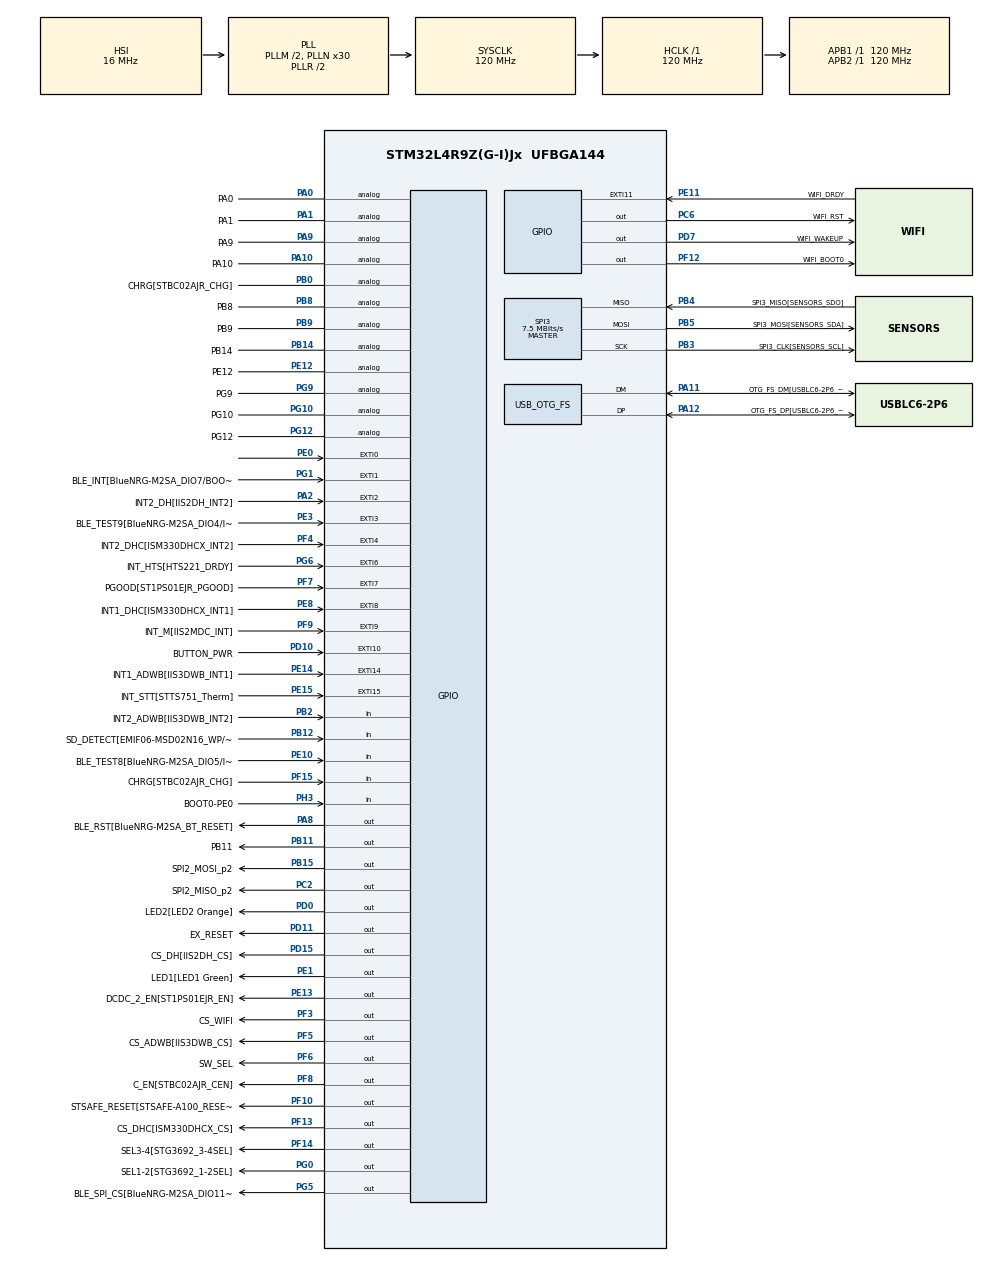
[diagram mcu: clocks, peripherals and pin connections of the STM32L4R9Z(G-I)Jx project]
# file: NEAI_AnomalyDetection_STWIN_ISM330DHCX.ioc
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Mcu.Family=STM32L4
Mcu.Name=STM32L4R9Z(G-I)Jx
Mcu.Package=UFBGA144
NVIC.EXTI0_IRQn=true\:0\:0\:true\:false\:true\:true\:true
NVIC.EXTI9_5_IRQn=true\:0\:0\:true\:false\:true\:true\:true
NVIC.OTG_FS_IRQn=true\:0\:0\:true\:false\:true\:false\:true
NVIC.PriorityGroup=NVIC_PRIORITYGROUP_4
PA0.GPIO_Label=PA0
PA0.Signal=GPIO_Analog
PA1.GPIO_Label=PA1
PA1.Signal=GPIO_Analog
PA10.GPIO_Label=PA10
PA10.Signal=GPIO_Analog
PA11.GPIO_Label=OTG_FS_DM[USBLC6-2P6_D2]
PA11.Mode=Device_Only
PA11.Signal=USB_OTG_FS_DM
PA12.GPIO_Label=OTG_FS_DP[USBLC6-2P6_D1]
PA12.Mode=Device_Only
PA12.Signal=USB_OTG_FS_DP
PA13\ (JTMS/SWDIO).GPIO_Label=SWDIO
PA13\ (JTMS/SWDIO).Signal=SYS_JTMS-SWDIO
PA14\ (JTCK/SWCLK).GPIO_Label=SWDCLK
PA14\ (JTCK/SWCLK).Signal=SYS_JTCK-SWCLK
PA15\ (JTDI).GPIO_Label=EX_PWM
PA15\ (JTDI).Signal=S_TIM2_CH1
PA2.GPIO_Label=INT2_DH[IIS2DH_INT2]
PA2.Signal=GPXTI2
PA4.GPIO_Label=DAC1_OUT1
PA4.Signal=COMP_DAC11_group
PA5.GPIO_Label=EX_ADC
PA5.Signal=ADCx_IN10
PA8.GPIO_Label=BLE_RST[BlueNRG-M2SA_BT_RESET]
PA8.Signal=GPIO_Output
PA9.GPIO_Label=PA9
PA9.Signal=GPIO_Analog
PB0.GPIO_Label=CHRG[STBC02AJR_CHG]
PB0.Signal=GPIO_Analog
PB1.GPIO_Label=USART3_RTS[STG3692_3S2]
PB1.Signal=USART3_RTS
PB10.GPIO_Label=DFSDM1_D7
PB10.GPIO_PuPd=GPIO_PULLDOWN
PB10.GPIO_Speed=GPIO_SPEED_FREQ_VERY_HIGH
PB10.Signal=S_DATAIN7DFSDM1
PB11.GPIO_Label=PB11
PB11.Signal=GPIO_Output
PB12.GPIO_Label=SD_DETECT[EMIF06-MSD02N16_WP/CD]
PB12.Signal=GPIO_Input
PB13.GPIO_Label=USART3_CTS
PB13.Signal=USART3_CTS
PB14.GPIO_Label=PB14
PB14.Signal=GPIO_Analog
PB15.GPIO_Label=SPI2_MOSI_p2
PB15.Signal=GPIO_Output
PB2.GPIO_Label=INT2_ADWB[IIS3DWB_INT2]
PB2.Signal=GPIO_Input
PB3\ (JTDO/TRACESWO).GPIO_Label=SPI3_CLK[SENSORS_SCL]
PB3\ (JTDO/TRACESWO).Mode=Full_Duplex_Master
PB3\ (JTDO/TRACESWO).Signal=SPI3_SCK
PB4\ (NJTRST).GPIO_Label=SPI3_MISO[SENSORS_SDO]
PB4\ (NJTRST).Mode=Full_Duplex_Master
PB4\ (NJTRST).Signal=SPI3_MISO
PB5.GPIO_Label=SPI3_MOSI[SENSORS_SDA]
PB5.Mode=Full_Duplex_Master
PB5.Signal=SPI3_MOSI
PB6.GPIO_Label=DFSDM1_DATIN5[IMP34DT05_DOUT]
PB6.GPIO_PuPd=GPIO_PULLDOWN
PB6.GPIO_Speed=GPIO_SPEED_FREQ_VERY_HIGH
PB6.Signal=S_DATAIN5DFSDM1
PB8.GPIO_Label=PB8
PB8.Signal=GPIO_Analog
PB9.GPIO_Label=PB9
PB9.Signal=GPIO_Analog
PC0.GPIO_Label=ADC1_IN1[TS922EIJT_OUT2]
PC0.Signal=ADCx_IN1
PC1.GPIO_Label=ADC1_IN2[TS922EIJT_OUT1]
PC1.Signal=ADCx_IN2
PC10.GPIO_Label=SDMMC_D2[EMIF06-MSD02N16_DAT2_In]
PC10.Signal=SDMMC1_D2
PC11.GPIO_Label=SDMMC_D3[EMIF06-MSD02N16_DAT3_In]
PC11.Signal=SDMMC1_D3
PC12.GPIO_Label=SDMMC_CK[EMIF06-MSD02N16_CLK_In]
PC12.Signal=SDMMC1_CK
PC13.GPIO_Label=RTC_TAMP1
PC13.Signal=RTC_TAMP1
PC14-OSC32_IN\ (PC14).GPIO_Label=OSC32_IN
PC14-OSC32_IN\ (PC14).Signal=RCC_OSC32_IN
PC15-OSC32_OUT\ (PC15).GPIO_Label=OSC32_OUT
PC15-OSC32_OUT\ (PC15).Signal=RCC_OSC32_OUT
PC2.GPIO_Label=SPI2_MISO_p2
PC2.Signal=GPIO_Output
PC3.GPIO_Label=SPI2_MOSI[BlueNRG-M2SA_DIO3/SPI_MOSI]
PC3.Signal=SPI2_MOSI
PC4.GPIO_Label=uC_ADC_BATT[STBC02AJR_BATMS]
PC4.Signal=ADCx_IN13
PC5.GPIO_Label=PC5/WKUP5
PC5.Signal=SYS_WKUP5
PC6.GPIO_Label=WIFI_RST
PC6.Signal=GPIO_Output
PC8.GPIO_Label=SDMMC_D0[EMIF06-MSD02N16_DAT0_In]
PC8.Signal=SDMMC1_D0
PC9.GPIO_Label=SDMMC_D1[EMIF06-MSD02N16_DAT1_In]
PC9.Signal=SDMMC1_D1
PD0.GPIO_Label=LED2[LED2 Orange]
PD0.Signal=GPIO_Output
PD1.GPIO_Label=SPI2_CLK[BlueNRG-M2SA_DIO0/SPI_CLK]
PD1.Signal=SPI2_SCK
PD10.GPIO_Label=BUTTON_PWR
PD10.Signal=GPXTI10
PD11.GPIO_Label=EX_RESET 
PD11.Signal=GPIO_Output
PD12.GPIO_Label=I2C4_SCL
PD12.Signal=I2C4_SCL
PD13.GPIO_Label=I2C4_SDA
PD13.Signal=I2C4_SDA
PD15.GPIO_Label=CS_DH[IIS2DH_CS]
PD15.Signal=GPIO_Output
PD2.GPIO_Label=SDMMC_CMD[EMIF06-MSD02N16_CMD_In]
PD2.Signal=SDMMC1_CMD
PD3.GPIO_Label=SPI2_MISO[BlueNRG-M2SA_DIO2/SPI_MISO]
PD3.Signal=SPI2_MISO
PD4.GPIO_Label=USART2_RTS[STR485LV_DE]
PD4.Signal=USART2_RTS
PD5.GPIO_Label=USART2_TX[STR485LV_D]
PD5.Signal=USART2_TX
PD6.GPIO_Label=USART2_RX[STR485LV_R]
PD6.Signal=USART2_RX
PD7.GPIO_Label=WIFI_WAKEUP
PD7.Signal=GPIO_Output
PD8.GPIO_Label=USART3_TX[STG3692_1S1]
PD8.Signal=USART3_TX
PD9.GPIO_Label=USART3_RX[STG3692_2S1]
PD9.Signal=USART3_RX
PE0.Signal=GPXTI0
PE1.GPIO_Label=LED1[LED1 Green]
PE1.Signal=GPIO_Output
PE10.GPIO_Label=BLE_TEST8[BlueNRG-M2SA_DIO5/I2C_SDA]
PE10.Signal=GPIO_Input
PE11.GPIO_Label=WIFI_DRDY
PE11.Signal=GPXTI11
PE12.GPIO_Label=PE12
PE12.Signal=GPIO_Analog
PE13.GPIO_Label=DCDC_2_EN[ST1PS01EJR_EN]
PE13.Signal=GPIO_Output
PE14.GPIO_Label=INT1_ADWB[IIS3DWB_INT1]
PE14.Signal=GPXTI14
PE15.GPIO_Label=INT_STT[STTS751_Therm]
PE15.Signal=GPXTI15
PE2.GPIO_Label=SAI1_MCLK_A
PE2.Signal=SAI1_MCLK_A
PE3.GPIO_Label=BLE_TEST9[BlueNRG-M2SA_DIO4/I2C_CLK]
PE3.Signal=GPXTI3
PE4.GPIO_Label=SAI1_FS_A/DFSDM_D3
PE4.Signal=SAI1_FS_A
PE5.GPIO_Label=SAI1_SCK_A
PE5.Signal=SAI1_SCK_A
PE6.GPIO_Label=SAI1_SD_A
PE6.Signal=SAI1_SD_A
PE7.GPIO_Label=SAI1_SD_B
PE7.Signal=SAI1_SD_B
PE8.GPIO_Label=INT1_DHC[ISM330DHCX_INT1]
PE8.Signal=GPXTI8
PE9.GPIO_Label=DFSDM1_CKOUT[IMP34DT05_CLK]
PE9.GPIO_PuPd=GPIO_PULLDOWN
PE9.GPIO_Speed=GPIO_SPEED_FREQ_VERY_HIGH
PE9.Signal=S_CKOUTDFSDM1
PF0.GPIO_Label=I2C2_SDA[SENSORS_SDA]
PF0.Signal=I2C2_SDA
PF1.GPIO_Label=I2C2_SDA[SENSORS_SCL]
PF1.Signal=I2C2_SCL
PF10.GPIO_Label=STSAFE_RESET[STSAFE-A100_RESET]
PF10.Signal=GPIO_Output
PF12.GPIO_Label=WIFI_BOOT0
PF12.Signal=GPIO_Output
PF13.GPIO_Label=CS_DHC[ISM330DHCX_CS]
PF13.Signal=GPIO_Output
PF14.GPIO_Label=SEL3-4[STG3692_3-4SEL]
PF14.Signal=GPIO_Output
PF15.GPIO_Label=CHRG[STBC02AJR_CHG]
PF15.Signal=GPIO_Input
PF2.GPIO_Label=I2C2_SMBA[STTS751_EV]
PF2.Signal=I2C2_SMBA
PF3.GPIO_Label=CS_WIFI
PF3.Signal=GPIO_Output
PF4.GPIO_Label=INT2_DHC[ISM330DHCX_INT2]
PF4.Signal=GPXTI4
PF5.GPIO_Label=CS_ADWB[IIS3DWB_CS]
PF5.Signal=GPIO_Output
PF6.GPIO_Label=SW_SEL
PF6.Signal=GPIO_Output
PF7.GPIO_Label=PGOOD[ST1PS01EJR_PGOOD]
PF7.Signal=GPXTI7
PF8.GPIO_Label=C_EN[STBC02AJR_CEN]
PF8.Signal=GPIO_Output
PF9.GPIO_Label=INT_M[IIS2MDC_INT]
PF9.Signal=GPXTI9
PG0.GPIO_Label=SEL1-2[STG3692_1-2SEL]
PG0.Signal=GPIO_Output
PG1.GPIO_Label=BLE_INT[BlueNRG-M2SA_DIO7/BOOT/UART_CTS]
PG1.Signal=GPXTI1
PG10.GPIO_Label=PG10
PG10.Signal=GPIO_Analog
PG12.GPIO_Label=PG12
PG12.Signal=GPIO_Analog
PG2.GPIO_Label=SPI1_CLK
PG2.Signal=SPI1_SCK
PG3.GPIO_Label=SPI1_MISO
PG3.Signal=SPI1_MISO
PG4.GPIO_Label=SPI1_MOSI
PG4.Signal=SPI1_MOSI
PG5.GPIO_Label=BLE_SPI_CS[BlueNRG-M2SA_DIO11/UART_RXD]
PG5.Signal=GPIO_Output
PG6.GPIO_Label=INT_HTS[HTS221_DRDY]
PG6.Signal=GPXTI6
PG7.GPIO_Label=I2C3_SCL[STSAFE-A110_SCL]
PG7.Signal=I2C3_SCL
PG8.GPIO_Label=I2C3_SDA[STSAFE-A110_SDA]
PG8.Signal=I2C3_SDA
PG9.GPIO_Label=PG9
PG9.Signal=GPIO_Analog
PH0-OSC_IN\ (PH0).GPIO_Label=OSC_IN
PH0-OSC_IN\ (PH0).Signal=RCC_OSC_IN
PH1-OSC_OUT\ (PH1).GPIO_Label=OSC_OUT
PH1-OSC_OUT\ (PH1).Signal=RCC_OSC_OUT
PH3-BOOT0.GPIO_Label=BOOT0-PE0
PH3-BOOT0.Signal=GPIO_Input
ProjectManager.HeapSize=0x200
ProjectManager.StackSize=0x400
ProjectManager.TargetToolchain=STM32CubeIDE
RCC.ADCFreq_Value=76800000
RCC.AHBFreq_Value=120000000
RCC.APB1Freq_Value=120000000
RCC.APB1TimFreq_Value=120000000
RCC.APB2Freq_Value=120000000
RCC.APB2TimFreq_Value=120000000
RCC.CK48CLockSelection=RCC_USBCLKSOURCE_HSI48
RCC.CortexFreq_Value=120000000
RCC.DSITX_Div=1
RCC.HCLKFreq_Value=120000000
RCC.HSE_VALUE=16000000
RCC.HSI48_VALUE=48000000
RCC.HSI_VALUE=16000000
RCC.LSE_VALUE=32768
RCC.MSIAutoCalibration=ENABLED
RCC.MSI_VALUE=4000000
RCC.PLLDSIODF=DSI_PLL_OUT_DIV2
RCC.PLLM1=2
RCC.PLLM2=5
RCC.PLLM3=2
RCC.PLLN=30
RCC.PLLSAI1N=96
RCC.PLLSAI1P=RCC_PLLP_DIV25
RCC.PLLSAI1Q=RCC_PLLQ_DIV4
RCC.PLLSAI1R=RCC_PLLR_DIV4
RCC.PLLSourceVirtual=RCC_PLLSOURCE_HSI
RCC.RTCClockSelection=RCC_RTCCLKSOURCE_LSE
RCC.SDMMCClockSelection=RCC_SDIOCLKSOURCE_CLK48
RCC.SYSCLKFreq_VALUE=120000000
RCC.SYSCLKSource=RCC_SYSCLKSOURCE_PLLCLK
RCC.USBFreq_Value=48000000
RCC.VCOOutputFreq_Value=240000000
SH.ADCx_IN1.0=ADC1_IN1
SH.ADCx_IN10.0=ADC1_IN10
SH.ADCx_IN13.0=ADC1_IN13
SH.ADCx_IN2.0=ADC1_IN2
SH.COMP_DAC11_group.0=DAC1_OUT1
SH.S_CKOUTDFSDM1.0=DFSDM1_CKOUT
SH.S_DATAIN5DFSDM1.0=DFSDM1_DATIN5
SH.S_DATAIN7DFSDM1.0=DFSDM1_DATIN7
SH.S_TIM2_CH1.0=TIM2_CH1
SPI3.BaudRatePrescaler=SPI_BAUDRATEPRESCALER_16
SPI3.CalculateBaudRate=7.5 MBits/s
SPI3.DataSize=SPI_DATASIZE_8BIT
SPI3.Direction=SPI_DIRECTION_2LINES
SPI3.Mode=SPI_MODE_MASTER
SPI3.VirtualType=VM_MASTER
USB_DEVICE.APP_TX_DATA_SIZE=2048
USB_DEVICE.CLASS_NAME_FS=CDC
USB_DEVICE.USBD_LPM_ENABLED=1
USB_DEVICE.VirtualMode=Cdc
USB_DEVICE.VirtualModeFS=Cdc_FS
USB_OTG_FS.Sof_enable-Device_Only=DISABLE
USB_OTG_FS.VirtualMode=Device_Only
VP_RCC_USB.Mode=CRS SYNC Source USB
VP_USB_DEVICE_VS_USB_DEVICE_CDC_FS.Mode=CDC_FS
board=STEVAL-STWINKT1B

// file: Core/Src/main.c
/* USER CODE BEGIN Header */
/**
  ******************************************************************************
  * @file           : main.c
  * @brief          : Main program body
  ******************************************************************************
  * @attention
  *
  * Copyright (c) 2021 STMicroelectronics.
  * All rights reserved.
  *
  * This software is licensed under terms that can be found in the LICENSE file
  * in the root directory of this software component.
  * If no LICENSE file comes with this software, it is provided AS-IS.
  *
  ******************************************************************************
  */
/* USER CODE END Header */
#include "main.h"
#include "spi.h"
#include "usb_device.h"
#include "gpio.h"

/* USER CODE BEGIN Includes */

#include "stdio.h"
#include "string.h"
#include "usbd_cdc_if.h"
#include "ism330dhcx_reg.h"
#include "NanoEdgeAI.h"

/* USER CODE END Includes */

/* USER CODE BEGIN PTD */

/* Step #2 Definition of enumerated type of FSM states*/
typedef enum
{
  LOG,
  LEARN,
  INFERENCE,
} States_t;

/* USER CODE END PTD */

/* USER CODE BEGIN PD */

#define VERSION                (uint32_t)(260822)

#define SENSOR_BUS            hspi3  /* Sensor SPI bus */
#define SENSOR_BOOT_TIME      (uint32_t)(100)  /* Boot time of the sensor [ms] */
#define NUMBER_OF_VALUES      (uint32_t)(DATA_INPUT_USER)
#define NUMBER_OF_AXIS        (uint32_t)(AXIS_NUMBER)
#define SIGNAL_SIZE           (uint32_t)(NUMBER_OF_VALUES * NUMBER_OF_AXIS)  /* Runtime signal size */
#define LEARNING_ITERATIONS   (uint32_t)(10)
#define LED_LOG_PERIOD        (uint32_t)(75)  /* LEDs toggling half period [ms] following the app state */
#define LED_LEARN_PERIOD      (uint32_t)(1000)
#define LED_INFERENCE_PERIOD  (uint32_t)(250)
#define LED_ANOMALY_PERIOD    (uint32_t)(20)

/* USER CODE END PD */

/* USER CODE BEGIN PV */

stmdev_ctx_t dev_ctx;
volatile States_t appState = LOG;  /* FSM state */
volatile uint32_t sensorDataReady = RESET;
volatile uint32_t led1PeriodCnt = 0;  /* LED1 toggling counter incremented by SysTick */
volatile uint32_t led1Period = 0;  /* LED1 toggle timing to be set by user */
volatile uint32_t led1Enable = SET;
volatile uint32_t led2PeriodCnt = 0;  /* LED1 toggling counter incremented by SysTick */
volatile uint32_t led2Period = 0;  /* LED1 toggle timing to be set by user */
volatile uint32_t led2Enable = RESET;
float input_user_buffer[SIGNAL_SIZE];

/* USER CODE END PV */

void SystemClock_Config(void);
/* USER CODE BEGIN PFP */

void CHARGER_Init(void);

int32_t platform_write(void *handle,uint8_t reg,const uint8_t *bufp,uint16_t len);
int32_t platform_read(void *handle,uint8_t reg,uint8_t *bufp,uint16_t len);

void MEMS_Init(void);
void FillBuffer(float *buffer, uint32_t size);
void PrintBuffer(float *buffer, uint32_t size);
void Log(void);
void Learn(void);
void Inference(void);

/* USER CODE END PFP */

/* USER CODE BEGIN 0 */

int _write(int fd, char * ptr, int len)
{
  CDC_Transmit_FS((uint8_t *)ptr,len);
  HAL_Delay((uint32_t)((len / 8) + 1));
  return len;
}

/* USER CODE END 0 */

int main(void)
{

  /* MCU Configuration--------------------------------------------------------*/

  /* Reset of all peripherals, Initializes the Flash interface and the Systick. */
  HAL_Init();

  /* Configure the system clock */
  SystemClock_Config();

  /* USER CODE BEGIN SysInit */

  HAL_PWREx_EnableVddUSB();

  /* USER CODE END SysInit */

  /* Initialize all configured peripherals */
  MX_GPIO_Init();
  MX_SPI3_Init();
  MX_USB_DEVICE_Init();
  /* USER CODE BEGIN 2 */

  HAL_Delay(500);  /* Delay to init VCP on host side */
  CHARGER_Init();
  MEMS_Init();
  printf("\r\nVer: %u.%u\r\n",(uint)VERSION,(uint)SIGNAL_SIZE);
  enum neai_state error_code = neai_anomalydetection_init();
  if (error_code!=NEAI_OK)
  {
    printf("Knowledge initialization ERROR: %d\r\n",error_code);
    Error_Handler();
  }
  else
  {
    printf("Knowledge initialization done\r\n");
  }

  /* USER CODE END 2 */

  /* Infinite loop */
  while (1)
  {

    /* USER CODE BEGIN 3 */

	switch (appState)
	{
	  case LOG:
	    Log();
	  	break;
	  case LEARN:
	    Learn();
	  	appState = INFERENCE;
	  	break;
	  case INFERENCE:
	    Inference();
	  	break;
	  default:
	    appState = LOG;
	  	break;
	}

  }
  /* USER CODE END 3 */
}

void SystemClock_Config(void)
{
  RCC_OscInitTypeDef RCC_OscInitStruct = {0};
  RCC_ClkInitTypeDef RCC_ClkInitStruct = {0};
  RCC_CRSInitTypeDef RCC_CRSInitStruct = {0};

  /** Configure the main internal regulator output voltage
  */
  if (HAL_PWREx_ControlVoltageScaling(PWR_REGULATOR_VOLTAGE_SCALE1_BOOST) != HAL_OK)
  {
    Error_Handler();
  }
  /** Initializes the RCC Oscillators according to the specified parameters
  * in the RCC_OscInitTypeDef structure.
  */
  RCC_OscInitStruct.OscillatorType = RCC_OSCILLATORTYPE_HSI48|RCC_OSCILLATORTYPE_HSI;
  RCC_OscInitStruct.HSIState = RCC_HSI_ON;
  RCC_OscInitStruct.HSI48State = RCC_HSI48_ON;
  RCC_OscInitStruct.HSICalibrationValue = RCC_HSICALIBRATION_DEFAULT;
  RCC_OscInitStruct.PLL.PLLState = RCC_PLL_ON;
  RCC_OscInitStruct.PLL.PLLSource = RCC_PLLSOURCE_HSI;
  RCC_OscInitStruct.PLL.PLLM = 2;
  RCC_OscInitStruct.PLL.PLLN = 30;
  RCC_OscInitStruct.PLL.PLLP = RCC_PLLP_DIV2;
  RCC_OscInitStruct.PLL.PLLQ = RCC_PLLQ_DIV2;
  RCC_OscInitStruct.PLL.PLLR = RCC_PLLR_DIV2;
  if (HAL_RCC_OscConfig(&RCC_OscInitStruct) != HAL_OK)
  {
    Error_Handler();
  }
  /** Initializes the CPU, AHB and APB buses clocks
  */
  RCC_ClkInitStruct.ClockType = RCC_CLOCKTYPE_HCLK|RCC_CLOCKTYPE_SYSCLK
                              |RCC_CLOCKTYPE_PCLK1|RCC_CLOCKTYPE_PCLK2;
  RCC_ClkInitStruct.SYSCLKSource = RCC_SYSCLKSOURCE_PLLCLK;
  RCC_ClkInitStruct.AHBCLKDivider = RCC_SYSCLK_DIV1;
  RCC_ClkInitStruct.APB1CLKDivider = RCC_HCLK_DIV1;
  RCC_ClkInitStruct.APB2CLKDivider = RCC_HCLK_DIV1;

  if (HAL_RCC_ClockConfig(&RCC_ClkInitStruct, FLASH_LATENCY_5) != HAL_OK)
  {
    Error_Handler();
  }
  /** Enable MSI Auto calibration
  */
  HAL_RCCEx_EnableMSIPLLMode();
  /** Enable the SYSCFG APB clock
  */
  __HAL_RCC_CRS_CLK_ENABLE();
  /** Configures CRS
  */
  RCC_CRSInitStruct.Prescaler = RCC_CRS_SYNC_DIV1;
  RCC_CRSInitStruct.Source = RCC_CRS_SYNC_SOURCE_USB;
  RCC_CRSInitStruct.Polarity = RCC_CRS_SYNC_POLARITY_RISING;
  RCC_CRSInitStruct.ReloadValue = __HAL_RCC_CRS_RELOADVALUE_CALCULATE(48000000,1000);
  RCC_CRSInitStruct.ErrorLimitValue = 34;
  RCC_CRSInitStruct.HSI48CalibrationValue = 32;

  HAL_RCCEx_CRSConfig(&RCC_CRSInitStruct);
}

/* USER CODE BEGIN 4 */

void Delay_us_Init(void)
{
  CoreDebug->DEMCR &= ~CoreDebug_DEMCR_TRCENA_Msk;
  CoreDebug->DEMCR |= CoreDebug_DEMCR_TRCENA_Msk;
  DWT->CTRL &= ~DWT_CTRL_CYCCNTENA_Msk;
  DWT->CTRL |= DWT_CTRL_CYCCNTENA_Msk;
  DWT->CYCCNT = 0;
}

void Delay_us(volatile uint32_t us)
{
  uint32_t t0 = DWT->CYCCNT;
  us = us * (HAL_RCC_GetHCLKFreq() / 1000000);
  while ((DWT->CYCCNT - t0) < us);
}

void SWIRE_Cmd(uint8_t cmd)
{
  Delay_us_Init();

  HAL_GPIO_WritePin(SW_SEL_GPIO_Port,SW_SEL_Pin,GPIO_PIN_SET);  // tstart
  Delay_us(375);

  for(uint8_t i=0;i<cmd;i++)
  {
    HAL_GPIO_WritePin(SW_SEL_GPIO_Port,SW_SEL_Pin,GPIO_PIN_RESET);  // tl
	Delay_us(110);
	HAL_GPIO_WritePin(SW_SEL_GPIO_Port,SW_SEL_Pin,GPIO_PIN_SET);  // th
	Delay_us(110);
  }
  HAL_GPIO_WritePin(SW_SEL_GPIO_Port,SW_SEL_Pin,GPIO_PIN_RESET);  // tlstop
  Delay_us(110);
  HAL_GPIO_WritePin(SW_SEL_GPIO_Port,SW_SEL_Pin,GPIO_PIN_SET);  // thstop
  Delay_us(550);
  HAL_GPIO_WritePin(SW_SEL_GPIO_Port,SW_SEL_Pin,GPIO_PIN_RESET);  // IDLE
}

void CHARGER_Init(void)
{
  HAL_GPIO_WritePin(C_EN_GPIO_Port,C_EN_Pin,GPIO_PIN_SET);  // Charging enable
  SWIRE_Cmd(23); // CHARGER SHUTDOWN when no USB cable connected (SWIRE command)
}

int32_t platform_write(void *handle,uint8_t reg,const uint8_t *bufp,uint16_t len)
{
  HAL_GPIO_WritePin(CS_DHC_GPIO_Port, CS_DHC_Pin, GPIO_PIN_RESET);
  HAL_SPI_Transmit(handle, &reg, 1, 1000);
  HAL_SPI_Transmit(handle, (uint8_t*) bufp, len, 1000);
  HAL_GPIO_WritePin(CS_DHC_GPIO_Port, CS_DHC_Pin, GPIO_PIN_SET);

  return 0;
}

int32_t platform_read(void *handle,uint8_t reg,uint8_t *bufp,uint16_t len)
{
  /* Read command */
  reg |= 0x80;
  HAL_GPIO_WritePin(CS_DHC_GPIO_Port, CS_DHC_Pin, GPIO_PIN_RESET);
  HAL_SPI_Transmit(handle, &reg, 1, 1000);
  HAL_SPI_Receive(handle, bufp, len, 1000);
  HAL_GPIO_WritePin(CS_DHC_GPIO_Port, CS_DHC_Pin, GPIO_PIN_SET);

  return 0;
}

void MEMS_Init(void)
{
  uint8_t whoamI;
  ism330dhcx_int1_ctrl_t int1Cfg = {0};
  int16_t acc_axes_raw[3], gy_axes_raw[3];

  HAL_GPIO_WritePin(CS_DH_GPIO_Port, CS_DH_Pin, GPIO_PIN_SET);      /* Deselect IIS2DH CS */
  HAL_GPIO_WritePin(CS_DHC_GPIO_Port, CS_ADWB_Pin, GPIO_PIN_SET);   /* Deselect IIS3DWB CS */
  HAL_GPIO_WritePin(CS_DHC_GPIO_Port, CS_DHC_Pin, GPIO_PIN_SET);    /* Deselect ISM330DHCX CS */

  dev_ctx.write_reg = platform_write;
  dev_ctx.read_reg = platform_read;
  dev_ctx.handle = &SENSOR_BUS;
  HAL_Delay(SENSOR_BOOT_TIME);
  ism330dhcx_device_id_get(&dev_ctx, &whoamI);
  //printf("\r\nSENSOR WHOAMI=0x%02X\r\n",(int)whoamI);
  if (whoamI!=ISM330DHCX_ID)
  {
    printf("ISM330DHCX not detected !\r\n");
  	Error_Handler();
  }
  else
  {
	ism330dhcx_block_data_update_set(&dev_ctx, PROPERTY_ENABLE);
	ism330dhcx_gy_data_rate_set(&dev_ctx, ISM330DHCX_GY_ODR_52Hz);
	ism330dhcx_xl_data_rate_set(&dev_ctx, ISM330DHCX_XL_ODR_52Hz);
	ism330dhcx_gy_full_scale_set(&dev_ctx, ISM330DHCX_250dps);
	ism330dhcx_xl_full_scale_set(&dev_ctx, ISM330DHCX_2g);
	ism330dhcx_xl_hp_path_on_out_set(&dev_ctx, ISM330DHCX_LP_ODR_DIV_100);
	ism330dhcx_xl_filter_lp2_set(&dev_ctx, PROPERTY_ENABLE);
	int1Cfg.int1_drdy_xl = 1;
	ism330dhcx_write_reg(&dev_ctx, ISM330DHCX_INT1_CTRL,(uint8_t*)&int1Cfg,1);
	ism330dhcx_acceleration_raw_get(&dev_ctx,acc_axes_raw);
	ism330dhcx_angular_rate_raw_get(&dev_ctx,gy_axes_raw);
  }
}

void FillBuffer(float* buffer, uint32_t size)
{
  int16_t acc_axes_raw[3], gy_axes_raw[3];
  uint32_t i = 0;

  while (i < size)
  {
    if (sensorDataReady!=RESET)
    {
      sensorDataReady = RESET;
      for(uint8_t j=0;j<3;j++) { acc_axes_raw[j] = 0; gy_axes_raw[j] = 0;}
      ism330dhcx_acceleration_raw_get(&dev_ctx,acc_axes_raw);
      ism330dhcx_angular_rate_raw_get(&dev_ctx,gy_axes_raw);
      buffer[i] = ism330dhcx_from_fs2g_to_mg(acc_axes_raw[0]);
      buffer[i+1] = ism330dhcx_from_fs2g_to_mg(acc_axes_raw[1]);
      buffer[i+2] = ism330dhcx_from_fs2g_to_mg(acc_axes_raw[2]);
      buffer[i+3] = ism330dhcx_from_fs250dps_to_mdps(gy_axes_raw[0]) / 1000; /* [mdps] -> [dps] */
      buffer[i+4] = ism330dhcx_from_fs250dps_to_mdps(gy_axes_raw[1]) / 1000;
      buffer[i+5] = ism330dhcx_from_fs250dps_to_mdps(gy_axes_raw[2]) / 1000;
      i += NUMBER_OF_AXIS;
    }
  }
}

void PrintBuffer(float *buffer, uint32_t size)
{
  uint32_t i = 0;
  uint32_t j;

  while (i < size)
  {
	for (j=0;j<NUMBER_OF_AXIS;j++)
	{
	  printf("%d ",(int)buffer[i+j]);
	}
    i += NUMBER_OF_AXIS;
  }
  printf("\n");
}

void Log(void)
{
  led1Enable = SET;
  led2Enable = RESET;
  led1Period = LED_LOG_PERIOD;
  FillBuffer(input_user_buffer,SIGNAL_SIZE);
  PrintBuffer(input_user_buffer,SIGNAL_SIZE);
}

void Learn(void)
{
  enum neai_state learnStatus;
  uint32_t learnIteration = 0;

  led1Enable = SET;
  led2Enable = RESET;
  led1Period = LED_LEARN_PERIOD;
  printf("\r\nStart of learning\r\n");
  HAL_Delay(2000);  /* Avoid parasitic vibrations of the mechanical setup*/
  while (learnIteration < LEARNING_ITERATIONS)
  {
    printf("Learning... %d/%d",(int)learnIteration+1,(int)LEARNING_ITERATIONS);
    FillBuffer(input_user_buffer,SIGNAL_SIZE);
    learnStatus = neai_anomalydetection_learn(input_user_buffer);
    if ((learnStatus==NEAI_OK) || (learnStatus==NEAI_MINIMAL_RECOMMENDED_LEARNING_DONE)) { printf(" -> OK\r\n"); }
    else if (learnStatus==NEAI_NOT_ENOUGH_CALL_TO_LEARNING) { printf(" -> .\r\n"); }
    else { printf(" -> ERR: %d\r\n",(int)learnStatus); }
    learnIteration++;
  }
}

void Inference(void)
{
  enum neai_state detectionStatus;
  uint8_t similarity = 0;

  FillBuffer(input_user_buffer,SIGNAL_SIZE);
  detectionStatus = neai_anomalydetection_detect(input_user_buffer,&similarity);
  if (detectionStatus==NEAI_OK)
  {
    printf("Similarity = %d%%",(int)similarity);
    if (similarity<90)
    {
      led1Enable = RESET;
      led2Enable = SET;
      led2Period = LED_ANOMALY_PERIOD;
      printf(" -> ANOMALY\r\n");
    }
    else
    {
      led2Enable = RESET;
      led1Enable = SET;
      led1Period = LED_INFERENCE_PERIOD;
      printf(" -> OK\r\n");
    }
  }
  else
  {
	printf("Detection error\r\n");
  }
}

void HAL_GPIO_EXTI_Callback(uint16_t GPIO_Pin)
{
  switch (GPIO_Pin)
  {
    case GPIO_PIN_8:
      sensorDataReady = SET;
      break;
    case GPIO_PIN_0:
      if (appState==LOG) { appState = LEARN; }
      else if (appState==INFERENCE) { appState = LOG; }
      break;
    default:
      break;
  }
}

void HAL_IncTick(void)
{
  uwTick += (uint32_t)uwTickFreq;

  if(led1PeriodCnt>0)
  {
    led1PeriodCnt--;
  }
  else
  {
    led1PeriodCnt = led1Period;
    if (led1Enable) { HAL_GPIO_TogglePin(GPIOE,GPIO_PIN_1); }
    else { HAL_GPIO_WritePin(GPIOE,GPIO_PIN_1,GPIO_PIN_RESET); }
  }

  if(led2PeriodCnt>0)
  {
    led2PeriodCnt--;
  }
  else
  {
    led2PeriodCnt = led2Period;
    if (led2Enable) { HAL_GPIO_TogglePin(GPIOD,GPIO_PIN_0); }
    else { HAL_GPIO_WritePin(GPIOD,GPIO_PIN_0,GPIO_PIN_RESET); }
  }
}

/* USER CODE END 4 */

void Error_Handler(void)
{
  __disable_irq();
  while (1)
  {
  }
}
